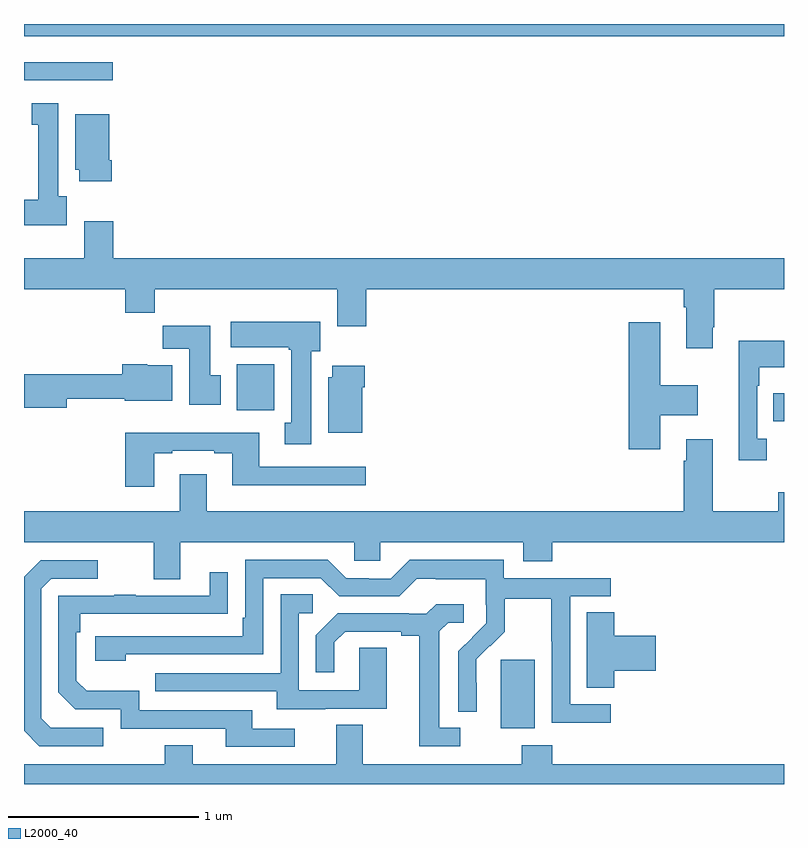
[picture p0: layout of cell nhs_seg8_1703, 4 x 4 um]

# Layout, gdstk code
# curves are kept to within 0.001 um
import gdstk
lib = gdstk.Library(unit=1e-6, precision=1e-09)
def R(c, l, rs):  # rectangles x0, y0, x1, y1
    for r in rs: c.add(gdstk.rectangle(r[:2], r[2:], *l))
def P(c, l, *ps):  # polygons
    for p in ps: c.add(gdstk.Polygon(p, *l))
L2000_40 = (2000, 40)

nhs_seg8_1703 = lib.new_cell('nhs_seg8_1703')
R(nhs_seg8_1703, L2000_40, [(221.51,1110.194,221.689,1110.555), (222.943,1111.81,223,1111.957), (220.121,1111.868,220.318,1112.11), (219,1113.603,219.466,1113.7), (219,1113.836,223,1113.9)])
P(nhs_seg8_1703, L2000_40, [(219.226,1112.994),(219.181,1112.994),(219.181,1113.484),(219.041,1113.484),(219.041,1113.371),(219.074,1113.371),(219.074,1112.974),(219,1112.974),(219,1112.84),(219.226,1112.84)],
  [(219.461,1113.184),(219.448,1113.184),(219.448,1113.424),(219.269,1113.424),(219.269,1113.132),(219.29,1113.132),(219.29,1113.072),(219.461,1113.072)],
  [(222.625,1112.305),(222.633,1112.305),(222.633,1112.504),(223,1112.504),(223,1112.668),(219.47,1112.668),(219.47,1112.863),(219.317,1112.863),(219.317,1112.668),(219,1112.668),(219,1112.504),(219.533,1112.504),(219.533,1112.38),(219.689,1112.38),(219.689,1112.504),(220.649,1112.504),(220.649,1112.31),(220.802,1112.31),(220.802,1112.504),(222.473,1112.504),(222.473,1112.408),(222.485,1112.408),(222.485,1112.193),(222.625,1112.193)],
  [(220.513,1112.178),(220.558,1112.178),(220.558,1112.332),(220.089,1112.332),(220.089,1112.198),(220.393,1112.198),(220.393,1112.185),(220.406,1112.185),(220.406,1111.802),(220.373,1111.802),(220.373,1111.689),(220.513,1111.689)],
  [(222.349,1111.841),(222.547,1111.841),(222.547,1111.999),(222.349,1111.999),(222.349,1112.329),(222.182,1112.329),(222.182,1111.662),(222.349,1111.662)],
  [(220.036,1112.052),(219.979,1112.052),(219.979,1112.311),(219.73,1112.311),(219.73,1112.192),(219.869,1112.192),(219.869,1111.896),(220.036,1111.896)],
  [(222.91,1111.718),(222.858,1111.718),(222.858,1111.997),(222.871,1111.997),(222.871,1112.093),(223,1112.093),(223,1112.233),(222.761,1112.233),(222.761,1111.605),(222.91,1111.605)],
  [(219.226,1111.927),(219.53,1111.927),(219.53,1111.916),(219.781,1111.916),(219.781,1112.104),(219.648,1112.104),(219.648,1112.11),(219.518,1112.11),(219.518,1112.056),(219,1112.056),(219,1111.88),(219.226,1111.88)],
  [(220.78,1111.988),(220.793,1111.988),(220.793,1112.101),(220.622,1112.101),(220.622,1112.04),(220.601,1112.04),(220.601,1111.748),(220.78,1111.748)],
  [(219.685,1111.641),(219.781,1111.641),(219.781,1111.653),(220.001,1111.653),(220.001,1111.641),(220.097,1111.641),(220.097,1111.472),(220.798,1111.472),(220.798,1111.569),(220.237,1111.569),(220.237,1111.75),(219.533,1111.75),(219.533,1111.464),(219.685,1111.464)],
  [(219,1111.172),(219.683,1111.172),(219.683,1110.978),(219.823,1110.978),(219.823,1111.172),(220.737,1111.172),(220.737,1111.074),(220.875,1111.074),(220.875,1111.172),(221.627,1111.172),(221.627,1111.073),(221.78,1111.073),(221.78,1111.172),(223,1111.172),(223,1111.435),(222.97,1111.435),(222.97,1111.336),(222.625,1111.336),(222.625,1111.714),(222.485,1111.714),(222.485,1111.601),(222.473,1111.601),(222.473,1111.336),(219.961,1111.336),(219.961,1111.531),(219.821,1111.531),(219.821,1111.336),(219,1111.336)],
  [(222.088,1110.321),(221.874,1110.321),(221.874,1110.888),(222.088,1110.888),(222.088,1110.984),(221.526,1110.984),(221.526,1111.081),(221.029,1111.081),(220.929,1110.981),(220.814,1110.981),(220.814,1110.984),(220.695,1110.984),(220.599,1111.08),(220.164,1111.08),(220.164,1110.775),(220.151,1110.775),(220.151,1110.678),(219.375,1110.678),(219.375,1110.548),(219.536,1110.548),(219.536,1110.582),(220.26,1110.582),(220.26,1110.984),(220.563,1110.984),(220.659,1110.888),(220.974,1110.888),(221.067,1110.981),(221.167,1110.981),(221.167,1110.977),(221.43,1110.977),(221.43,1110.843),(221.432,1110.843),(221.432,1110.746),(221.286,1110.598),(221.286,1110.28),(221.382,1110.28),(221.381,1110.557),(221.451,1110.627),(221.454,1110.624),(221.531,1110.701),(221.531,1110.876),(221.776,1110.876),(221.776,1110.652),(221.778,1110.652),(221.778,1110.223),(222.088,1110.223)],
  [(219.418,1110.195),(219.141,1110.195),(219.09,1110.246),(219.09,1110.927),(219.144,1110.981),(219.388,1110.981),(219.388,1111.077),(219.087,1111.077),(219,1110.99),(219,1110.18),(219.081,1110.099),(219.418,1110.099)],
  [(220.426,1110.192),(220.201,1110.192),(220.201,1110.288),(219.606,1110.288),(219.606,1110.391),(219.329,1110.391),(219.276,1110.444),(219.276,1110.698),(219.296,1110.698),(219.296,1110.795),(220.073,1110.796),(220.073,1111.015),(219.977,1111.015),(219.977,1110.891),(219.587,1110.891),(219.587,1110.896),(219.475,1110.896),(219.475,1110.891),(219.18,1110.891),(219.18,1110.384),(219.27,1110.294),(219.51,1110.294),(219.51,1110.192),(220.061,1110.192),(220.061,1110.096),(220.426,1110.096)],
  [(220.585,1110.297),(220.909,1110.297),(220.909,1110.617),(220.764,1110.617),(220.764,1110.393),(220.446,1110.393),(220.446,1110.798),(220.519,1110.798),(220.519,1110.899),(220.35,1110.899),(220.35,1110.483),(219.691,1110.483),(219.691,1110.387),(220.331,1110.387),(220.331,1110.293),(220.585,1110.293)],
  [(221.296,1110.195),(221.185,1110.195),(221.185,1110.703),(221.232,1110.75),(221.314,1110.75),(221.314,1110.847),(221.17,1110.847),(221.118,1110.795),(221.024,1110.795),(221.024,1110.798),(220.652,1110.798),(220.536,1110.682),(220.536,1110.489),(220.633,1110.489),(220.633,1110.645),(220.69,1110.702),(220.985,1110.702),(220.985,1110.68),(221.081,1110.68),(221.081,1110.099),(221.296,1110.099)],
  [(222.107,1110.497),(222.325,1110.497),(222.325,1110.68),(222.107,1110.68),(222.107,1110.803),(221.963,1110.803),(221.963,1110.406),(222.107,1110.406)],
  [(223,1110.004),(221.78,1110.004),(221.78,1110.103),(221.62,1110.103),(221.62,1110.004),(220.783,1110.004),(220.783,1110.212),(220.643,1110.212),(220.643,1110.004),(219.889,1110.004),(219.889,1110.103),(219.742,1110.103),(219.742,1110.004),(219,1110.004),(219,1109.9),(223,1109.9)])

lib.write_gds('nhs_seg8_1703.gds')
